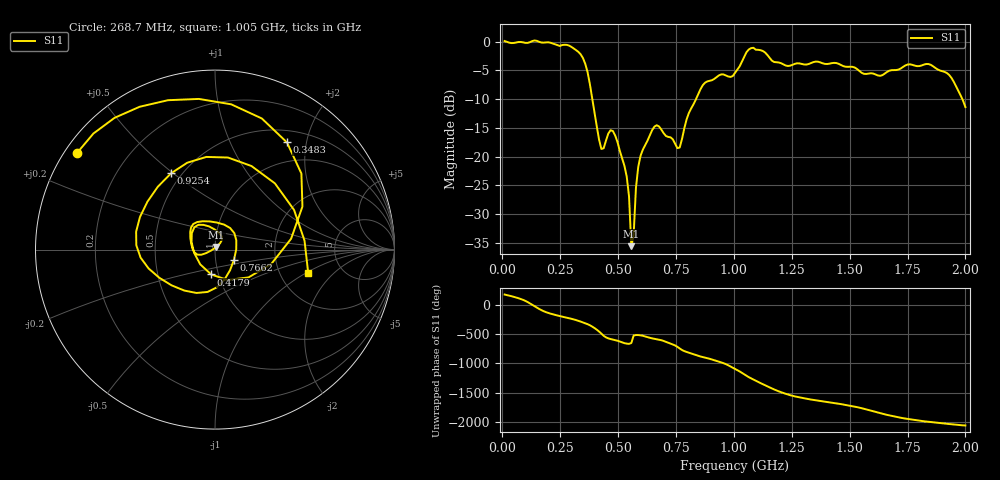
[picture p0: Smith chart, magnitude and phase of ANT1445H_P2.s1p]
!Created with skrf (http://scikit-rf.org).
# Hz S RI R 50.0
!freq ReS11 ImS11
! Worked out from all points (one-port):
!   201 points, 10 MHz to 2 GHz, reference 50 ohm
!   lowest |S11| = -35.6 dB at 557.2 MHz (marker M1), VSWR 1.03, Z = 50.7 + j1.52 ohm
!   |S11| at or under -10 dB: 389 MHz to 836.7 MHz (447.8 MHz wide, 73.1 % of centre); 1.987 GHz to end of sweep
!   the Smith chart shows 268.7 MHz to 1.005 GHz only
!   S11 on the Smith chart (normalised r, x): 268.7 MHz: 0.03, +0.31; 348.3 MHz: 0.67, +1.67; 417.9 MHz: 0.92, -0.26; 766.2 MHz: 1.23, -0.14; 925.4 MHz: 0.44, +0.49; 1.005 GHz: 2.88, -1.04
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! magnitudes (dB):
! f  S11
! 10 MHz  0.1
! 258.8 MHz  -0.6
! 268.7 MHz  -0.5
! 348.3 MHz  -2.9
! 417.9 MHz  -17.1
! 437.9 MHz  -18.6
! 477.6 MHz  -15.6
! 507.5 MHz  -19.0
! 537.4 MHz  -23.5
! 547.3 MHz  -26.9
! 557.2 MHz  -35.6
! 567.2 MHz  -33.7
! 577.1 MHz  -25.5
! 587.1 MHz  -21.8
! 607 MHz  -18.8
! 666.7 MHz  -14.6
! 756.2 MHz  -18.5
! 766.2 MHz  -18.4
! 855.8 MHz  -8.3
! 925.4 MHz  -6.2
! 1.005 GHz  -5.4
! 1.085 GHz  -1.1
! 1.254 GHz  -4.0
! 1.502 GHz  -4.4
! 1.632 GHz  -6.0
! 1.751 GHz  -4.0
! 1.92 GHz  -5.5
! 2 GHz  -11.4
